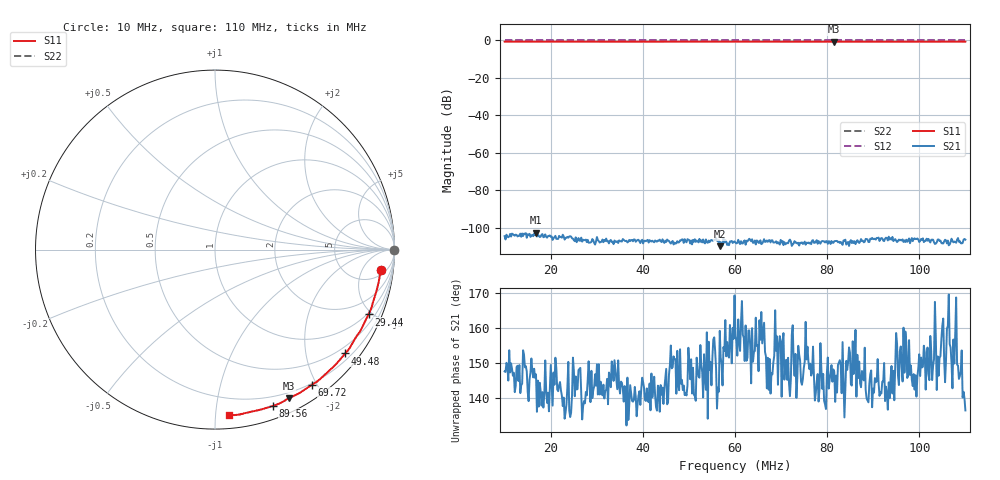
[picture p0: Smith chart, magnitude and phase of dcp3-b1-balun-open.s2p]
! Anritsu VNA Master:  Model: MS2034B/10/19/501
! SN:  1337062
! /bd0/ovro-jan-2016/dcp3-b1-balun-open.s2p
! Existing Calibration Information:
! TYPE:  Current Settings,  Active Cal Settings
! TIME:  01/14/2016 12:38:27 PM,  01/14/2016 12:01:10 PM
! INTERNAL TEMP:  41.8 C,  43.8 C
! # POINTS:  500,  500
! START FREQ:  10.000 MHz,  10.000 MHz
! STOP FREQ:  110.000 MHz,  110.000 MHz
! SOURCE POWER:  High,  High
! IFBW:  100 Hz,  100 Hz
! AVG FACTOR:  4 ,  4
! REF PLANE 1:  0 mm,  0 mm
! REF PLANE 2:  0 mm,  0 mm
! CAL TYPE:  Full S11,  Full S11
! CAL METHOD:  SOLT,  SOLT
! CAL LINE TYPE:  Coax,  Coax
! DUT PORT 1:  K-Conn(M),  K-Conn(M)
! DUT PORT 2:  N-Conn(M),  N-Conn(M)
! CAL STATUS:  OK: Accuracy High,  --
# GHZ S DB R 50.0
! FREQ.GHZ  S11DB  S11A  S21DB  S21A  S12DB  S12A  S22DB  S22A
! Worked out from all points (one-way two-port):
!   500 points, 10 MHz to 110 MHz, reference 50 ohm
!   highest |S21| = -102.62 dB at 16.81 MHz (marker M1); lowest = -109.8 dB at 56.69 MHz (marker M2)
!   lowest |S11| = -0.7 dB at 81.54 MHz (marker M3), VSWR 25.41, Z = 7.04 - j80.1 ohm
!   |S11| at or under -10 dB: nowhere
!   |S22| runs from 0.0 to 0.0 dB; largest |S21 - S12| = 1
!   S11 on the Smith chart (normalised r, x): 10 MHz: 7, -12; 29.44 MHz: 0.91, -4.78; 49.48 MHz: 0.34, -2.82; 69.72 MHz: 0.18, -1.94; 89.56 MHz: 0.11, -1.43; 110 MHz: 0.08, -1.08
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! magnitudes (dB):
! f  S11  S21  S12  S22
! 10 MHz  -0.6  -104.5  0.0  0.0
! 16.81 MHz  -0.6  -102.6  0.0  0.0
! 22.63 MHz  -0.6  -103.7  0.0  0.0
! 26.83 MHz  -0.6  -107.4  0.0  0.0
! 29.44 MHz  -0.6  -108.1  0.0  0.0
! 37.66 MHz  -0.7  -106.6  0.0  0.0
! 41.06 MHz  -0.7  -106.5  0.0  0.0
! 43.47 MHz  -0.7  -107.0  0.0  0.0
! 46.87 MHz  -0.6  -107.9  0.0  0.0
! 49.48 MHz  -0.7  -107.8  0.0  0.0
! 56.69 MHz  -0.7  -109.8  0.0  0.0
! 60.1 MHz  -0.7  -108.0  0.0  0.0
! 66.71 MHz  -0.6  -107.5  0.0  0.0
! 69.72 MHz  -0.7  -109.0  0.0  0.0
! 76.73 MHz  -0.7  -106.9  0.0  0.0
! 81.54 MHz  -0.7  -107.2  0.0  0.0
! 86.15 MHz  -0.6  -108.7  0.0  0.0
! 89.56 MHz  -0.6  -106.1  0.0  0.0
! 93.37 MHz  -0.7  -104.8  0.0  0.0
! 98.98 MHz  -0.7  -105.7  0.0  0.0
! 104.8 MHz  -0.6  -108.2  0.0  0.0
! 110 MHz  -0.7  -106.4  0.0  0.0
